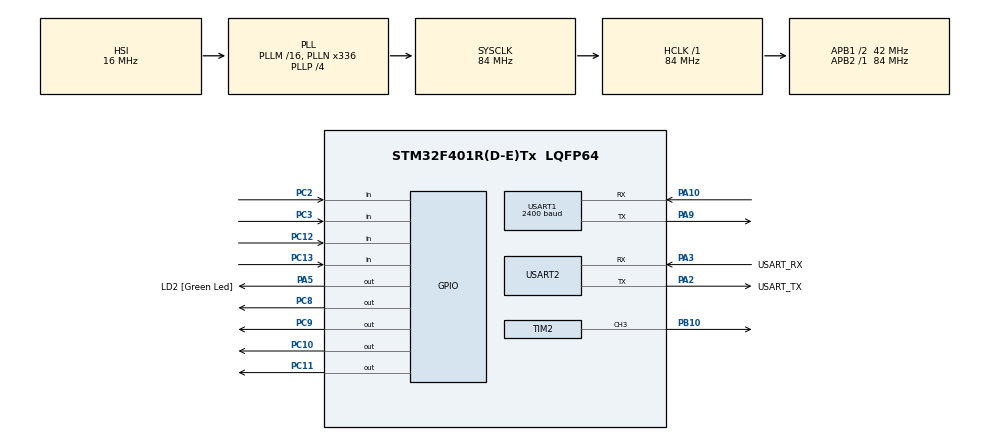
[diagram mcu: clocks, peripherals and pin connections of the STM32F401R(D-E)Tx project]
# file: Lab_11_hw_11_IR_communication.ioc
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Mcu.Family=STM32F4
Mcu.Name=STM32F401R(D-E)Tx
Mcu.Package=LQFP64
NVIC.PriorityGroup=NVIC_PRIORITYGROUP_0
NVIC.TIM1_UP_TIM10_IRQn=true\:0\:0\:false\:false\:true\:true\:true\:true
NVIC.USART1_IRQn=true\:0\:0\:false\:false\:true\:true\:true\:true
PA10.Mode=Asynchronous
PA10.Signal=USART1_RX
PA13.GPIO_Label=TMS
PA13.Mode=Serial_Wire
PA13.Signal=SYS_JTMS-SWDIO
PA14.GPIO_Label=TCK
PA14.Mode=Serial_Wire
PA14.Signal=SYS_JTCK-SWCLK
PA2.GPIO_Label=USART_TX
PA2.GPIO_Mode=GPIO_MODE_AF_PP
PA2.GPIO_PuPd=GPIO_NOPULL
PA2.GPIO_Speed=GPIO_SPEED_FREQ_LOW
PA2.Mode=Asynchronous
PA2.Signal=USART2_TX
PA3.GPIO_Label=USART_RX
PA3.GPIO_Mode=GPIO_MODE_AF_PP
PA3.GPIO_PuPd=GPIO_NOPULL
PA3.GPIO_Speed=GPIO_SPEED_FREQ_LOW
PA3.Mode=Asynchronous
PA3.Signal=USART2_RX
PA5.GPIO_Label=LD2 [Green Led]
PA5.GPIO_Mode=GPIO_MODE_OUTPUT_PP
PA5.GPIO_PuPd=GPIO_NOPULL
PA5.GPIO_Speed=GPIO_SPEED_FREQ_LOW
PA5.Signal=GPIO_Output
PA9.Mode=Asynchronous
PA9.Signal=USART1_TX
PB10.Signal=S_TIM2_CH3
PB3.GPIO_Label=SWO
PB3.Signal=SYS_JTDO-SWO
PC10.Signal=GPIO_Output
PC11.Signal=GPIO_Output
PC12.Signal=GPIO_Input
PC13-ANTI_TAMP.Signal=GPIO_Input
PC14-OSC32_IN.Mode=LSE-External-Oscillator
PC14-OSC32_IN.Signal=RCC_OSC32_IN
PC15-OSC32_OUT.Mode=LSE-External-Oscillator
PC15-OSC32_OUT.Signal=RCC_OSC32_OUT
PC2.Signal=GPIO_Input
PC3.Signal=GPIO_Input
PC8.Signal=GPIO_Output
PC9.Signal=GPIO_Output
PH0\ -\ OSC_IN.Mode=HSE-External-Clock-Source
PH0\ -\ OSC_IN.Signal=RCC_OSC_IN
PH1\ -\ OSC_OUT.Mode=HSE-External-Clock-Source
PH1\ -\ OSC_OUT.Signal=RCC_OSC_OUT
ProjectManager.HeapSize=0x200
ProjectManager.StackSize=0x400
ProjectManager.TargetToolchain=STM32CubeIDE
RCC.48MHZClocksFreq_Value=48000000
RCC.AHBFreq_Value=84000000
RCC.APB1CLKDivider=RCC_HCLK_DIV2
RCC.APB1Freq_Value=42000000
RCC.APB1TimFreq_Value=84000000
RCC.APB2Freq_Value=84000000
RCC.APB2TimFreq_Value=84000000
RCC.CortexFreq_Value=84000000
RCC.HCLKFreq_Value=84000000
RCC.HSE_VALUE=8000000
RCC.HSI_VALUE=16000000
RCC.PLLN=336
RCC.PLLP=RCC_PLLP_DIV4
RCC.PLLQ=7
RCC.SYSCLKFreq_VALUE=84000000
RCC.SYSCLKSource=RCC_SYSCLKSOURCE_PLLCLK
RCC.VCOOutputFreq_Value=336000000
SH.S_TIM2_CH3.0=TIM2_CH3,PWM Generation3 CH3
TIM10.Period=35000
TIM10.Prescaler=0
TIM2.Channel-PWM\ Generation3\ CH3=TIM_CHANNEL_3
TIM2.OCMode_PWM-PWM\ Generation3\ CH3=TIM_OCMODE_PWM2
TIM2.Period=2210
TIM2.Pulse-PWM\ Generation3\ CH3=1105
USART1.BaudRate=2400
USART1.Mode=MODE_RX
USART1.VirtualMode=VM_ASYNC
USART2.VirtualMode=VM_ASYNC
VP_TIM10_VS_ClockSourceINT.Mode=Enable_Timer
board=NUCLEO-F401RE

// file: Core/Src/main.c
/* USER CODE BEGIN Header */
/**
  ******************************************************************************
  * @file           : main.c
  * @brief          : Main program body
  ******************************************************************************
  * @attention
  *
  * Copyright (c) 2023 STMicroelectronics.
  * All rights reserved.
  *
  * This software is licensed under terms that can be found in the LICENSE file
  * in the root directory of this software component.
  * If no LICENSE file comes with this software, it is provided AS-IS.
  *
  ******************************************************************************
  */
/* USER CODE END Header */
#include "main.h"

TIM_HandleTypeDef htim2;
TIM_HandleTypeDef htim10;

UART_HandleTypeDef huart1;
UART_HandleTypeDef huart2;

/* USER CODE BEGIN PV */
int transmitter = 0; // this board is the transmitter
//int transmitter = 0; // this board is the receiver

char string[64];

/* USER CODE END PV */

void SystemClock_Config(void);
static void MX_GPIO_Init(void);
static void MX_USART2_UART_Init(void);
static void MX_TIM2_Init(void);
static void MX_TIM10_Init(void);
static void MX_USART1_UART_Init(void);

/* USER CODE BEGIN 0 */
////////////////////////////////////////////////// transmitter

int flag = 0;

void sendByte(char byte) {
	HAL_TIM_Base_Start_IT(&htim10);
	HAL_TIM_PWM_Start(&htim2, TIM_CHANNEL_3);
	flag = 0;
	while (flag == 0) {}
	for (int bit_ctr = 0; bit_ctr < 8; bit_ctr++) {
		if((byte & (0x01<<bit_ctr)) == 0) {
			HAL_TIM_PWM_Start(&htim2, TIM_CHANNEL_3);
		}
		else {
			HAL_TIM_PWM_Stop(&htim2, TIM_CHANNEL_3);
		}
		flag = 0;
		while (flag == 0) {}
	}
	HAL_TIM_PWM_Stop(&htim2, TIM_CHANNEL_3);
	while (flag == 0) {}
	HAL_TIM_Base_Stop_IT(&htim10);
	flag = 0;
}

void sendString(char* string, int size) {
	for (int i = 0; i < size; i++) {
		sendByte(string[i]);
		HAL_Delay(1);
	}
}

void HAL_TIM_PeriodElapsedCallback(TIM_HandleTypeDef *htim) {

	// transmitter
	if (htim == &htim10) {
		flag = 1;
	}

}

////////////////////////////////////////////////// receiver

char RX_byte = 0;
char command = 0;
int new_command = 0;

void HAL_UART_RxCpltCallback(UART_HandleTypeDef *huart){
	HAL_UART_Receive_IT(&huart1, &RX_byte, 1);
	command = RX_byte;
	new_command = 1;
}

void shwoletter(char letter){
	snprintf(string, sizeof(string), "%c", letter);
	HAL_UART_Transmit(&huart2, (uint8_t*) string, strlen(string), 200);
}

////////////////////////////////////////////////// keyboard

uint16_t outPin[] = {GPIO_PIN_3, GPIO_PIN_2, GPIO_PIN_13, GPIO_PIN_12};
uint16_t inPin[] = {GPIO_PIN_11, GPIO_PIN_10, GPIO_PIN_9, GPIO_PIN_8};

char map		[16] = "FB73EA62D951C840";
//char map		[16] = "FB43EA72D961C850";
int pressed		[16] = {0};
int pressedOld	[16] = { 0 };

void keyboard() {
	for (int i = 0; i < 4; i++) {
		HAL_GPIO_WritePin(GPIOC, inPin[i], GPIO_PIN_SET);
		for (int j = 0; j < 4; j++) {
			HAL_Delay(2); // debouncing
			pressed[4 * i + j] = !HAL_GPIO_ReadPin(GPIOC, outPin[j]);
		}
		HAL_GPIO_WritePin(GPIOC, inPin[i], GPIO_PIN_RESET);
	}
	for (int k = 0; k < 16; k++) {
		if (pressed[k] && !pressedOld[k]) {
			snprintf(string, sizeof(string), "%c ", map[k]);
			sendString(string, 4);
			//HAL_UART_Transmit(&huart2, (uint8_t*) string, strlen(string), 200);
		}
	}
	memcpy(pressedOld, pressed, sizeof(int) * 16);
}

/* USER CODE END 0 */

int main(void)
{

  /* MCU Configuration--------------------------------------------------------*/

  /* Reset of all peripherals, Initializes the Flash interface and the Systick. */
  HAL_Init();

  /* Configure the system clock */
  SystemClock_Config();

  /* Initialize all configured peripherals */
  MX_GPIO_Init();
  MX_USART2_UART_Init();
  MX_TIM2_Init();
  MX_TIM10_Init();
  MX_USART1_UART_Init();
  /* USER CODE BEGIN 2 */
  HAL_UART_Receive_IT(&huart1, &RX_byte, 1);
  HAL_TIM_Base_Start_IT(&htim10);
  /* USER CODE END 2 */

  /* Infinite loop */
  /* USER CODE BEGIN WHILE */
  while (1)
  {
	  if (transmitter) {
	  			keyboard();
	  		}

	  		else {
	  			if (new_command) {
	  				shwoletter(command);
	  				new_command = 0;
	  			}
	  		}
    /* USER CODE END WHILE */

  }
}

void SystemClock_Config(void)
{
  RCC_OscInitTypeDef RCC_OscInitStruct = {0};
  RCC_ClkInitTypeDef RCC_ClkInitStruct = {0};

  /** Configure the main internal regulator output voltage
  */
  __HAL_RCC_PWR_CLK_ENABLE();
  __HAL_PWR_VOLTAGESCALING_CONFIG(PWR_REGULATOR_VOLTAGE_SCALE2);

  /** Initializes the RCC Oscillators according to the specified parameters
  * in the RCC_OscInitTypeDef structure.
  */
  RCC_OscInitStruct.OscillatorType = RCC_OSCILLATORTYPE_HSI;
  RCC_OscInitStruct.HSIState = RCC_HSI_ON;
  RCC_OscInitStruct.HSICalibrationValue = RCC_HSICALIBRATION_DEFAULT;
  RCC_OscInitStruct.PLL.PLLState = RCC_PLL_ON;
  RCC_OscInitStruct.PLL.PLLSource = RCC_PLLSOURCE_HSI;
  RCC_OscInitStruct.PLL.PLLM = 16;
  RCC_OscInitStruct.PLL.PLLN = 336;
  RCC_OscInitStruct.PLL.PLLP = RCC_PLLP_DIV4;
  RCC_OscInitStruct.PLL.PLLQ = 7;
  if (HAL_RCC_OscConfig(&RCC_OscInitStruct) != HAL_OK)
  {
    Error_Handler();
  }

  /** Initializes the CPU, AHB and APB buses clocks
  */
  RCC_ClkInitStruct.ClockType = RCC_CLOCKTYPE_HCLK|RCC_CLOCKTYPE_SYSCLK
                              |RCC_CLOCKTYPE_PCLK1|RCC_CLOCKTYPE_PCLK2;
  RCC_ClkInitStruct.SYSCLKSource = RCC_SYSCLKSOURCE_PLLCLK;
  RCC_ClkInitStruct.AHBCLKDivider = RCC_SYSCLK_DIV1;
  RCC_ClkInitStruct.APB1CLKDivider = RCC_HCLK_DIV2;
  RCC_ClkInitStruct.APB2CLKDivider = RCC_HCLK_DIV1;

  if (HAL_RCC_ClockConfig(&RCC_ClkInitStruct, FLASH_LATENCY_2) != HAL_OK)
  {
    Error_Handler();
  }
}

static void MX_TIM2_Init(void)
{

  TIM_MasterConfigTypeDef sMasterConfig = {0};
  TIM_OC_InitTypeDef sConfigOC = {0};

  htim2.Instance = TIM2;
  htim2.Init.Prescaler = 0;
  htim2.Init.CounterMode = TIM_COUNTERMODE_UP;
  htim2.Init.Period = 2210;
  htim2.Init.ClockDivision = TIM_CLOCKDIVISION_DIV1;
  htim2.Init.AutoReloadPreload = TIM_AUTORELOAD_PRELOAD_DISABLE;
  if (HAL_TIM_PWM_Init(&htim2) != HAL_OK)
  {
    Error_Handler();
  }
  sMasterConfig.MasterOutputTrigger = TIM_TRGO_RESET;
  sMasterConfig.MasterSlaveMode = TIM_MASTERSLAVEMODE_DISABLE;
  if (HAL_TIMEx_MasterConfigSynchronization(&htim2, &sMasterConfig) != HAL_OK)
  {
    Error_Handler();
  }
  sConfigOC.OCMode = TIM_OCMODE_PWM2;
  sConfigOC.Pulse = 1105;
  sConfigOC.OCPolarity = TIM_OCPOLARITY_HIGH;
  sConfigOC.OCFastMode = TIM_OCFAST_DISABLE;
  if (HAL_TIM_PWM_ConfigChannel(&htim2, &sConfigOC, TIM_CHANNEL_3) != HAL_OK)
  {
    Error_Handler();
  }
  HAL_TIM_MspPostInit(&htim2);

}

static void MX_TIM10_Init(void)
{

  htim10.Instance = TIM10;
  htim10.Init.Prescaler = 0;
  htim10.Init.CounterMode = TIM_COUNTERMODE_UP;
  htim10.Init.Period = 35000;
  htim10.Init.ClockDivision = TIM_CLOCKDIVISION_DIV1;
  htim10.Init.AutoReloadPreload = TIM_AUTORELOAD_PRELOAD_DISABLE;
  if (HAL_TIM_Base_Init(&htim10) != HAL_OK)
  {
    Error_Handler();
  }

}

static void MX_USART1_UART_Init(void)
{

  huart1.Instance = USART1;
  huart1.Init.BaudRate = 2400;
  huart1.Init.WordLength = UART_WORDLENGTH_8B;
  huart1.Init.StopBits = UART_STOPBITS_1;
  huart1.Init.Parity = UART_PARITY_NONE;
  huart1.Init.Mode = UART_MODE_RX;
  huart1.Init.HwFlowCtl = UART_HWCONTROL_NONE;
  huart1.Init.OverSampling = UART_OVERSAMPLING_16;
  if (HAL_UART_Init(&huart1) != HAL_OK)
  {
    Error_Handler();
  }

}

static void MX_USART2_UART_Init(void)
{

  huart2.Instance = USART2;
  huart2.Init.BaudRate = 115200;
  huart2.Init.WordLength = UART_WORDLENGTH_8B;
  huart2.Init.StopBits = UART_STOPBITS_1;
  huart2.Init.Parity = UART_PARITY_NONE;
  huart2.Init.Mode = UART_MODE_TX_RX;
  huart2.Init.HwFlowCtl = UART_HWCONTROL_NONE;
  huart2.Init.OverSampling = UART_OVERSAMPLING_16;
  if (HAL_UART_Init(&huart2) != HAL_OK)
  {
    Error_Handler();
  }

}

static void MX_GPIO_Init(void)
{
  GPIO_InitTypeDef GPIO_InitStruct = {0};

  /* GPIO Ports Clock Enable */
  __HAL_RCC_GPIOC_CLK_ENABLE();
  __HAL_RCC_GPIOH_CLK_ENABLE();
  __HAL_RCC_GPIOA_CLK_ENABLE();
  __HAL_RCC_GPIOB_CLK_ENABLE();

  /*Configure GPIO pin Output Level */
  HAL_GPIO_WritePin(LD2_GPIO_Port, LD2_Pin, GPIO_PIN_RESET);

  /*Configure GPIO pin Output Level */
  HAL_GPIO_WritePin(GPIOC, GPIO_PIN_8|GPIO_PIN_9|GPIO_PIN_10|GPIO_PIN_11, GPIO_PIN_RESET);

  /*Configure GPIO pins : PC13 PC2 PC3 PC12 */
  GPIO_InitStruct.Pin = GPIO_PIN_13|GPIO_PIN_2|GPIO_PIN_3|GPIO_PIN_12;
  GPIO_InitStruct.Mode = GPIO_MODE_INPUT;
  GPIO_InitStruct.Pull = GPIO_NOPULL;
  HAL_GPIO_Init(GPIOC, &GPIO_InitStruct);

  /*Configure GPIO pin : LD2_Pin */
  GPIO_InitStruct.Pin = LD2_Pin;
  GPIO_InitStruct.Mode = GPIO_MODE_OUTPUT_PP;
  GPIO_InitStruct.Pull = GPIO_NOPULL;
  GPIO_InitStruct.Speed = GPIO_SPEED_FREQ_LOW;
  HAL_GPIO_Init(LD2_GPIO_Port, &GPIO_InitStruct);

  /*Configure GPIO pins : PC8 PC9 PC10 PC11 */
  GPIO_InitStruct.Pin = GPIO_PIN_8|GPIO_PIN_9|GPIO_PIN_10|GPIO_PIN_11;
  GPIO_InitStruct.Mode = GPIO_MODE_OUTPUT_PP;
  GPIO_InitStruct.Pull = GPIO_NOPULL;
  GPIO_InitStruct.Speed = GPIO_SPEED_FREQ_LOW;
  HAL_GPIO_Init(GPIOC, &GPIO_InitStruct);

}

void Error_Handler(void)
{
  __disable_irq();
  while (1)
  {
  }
}
